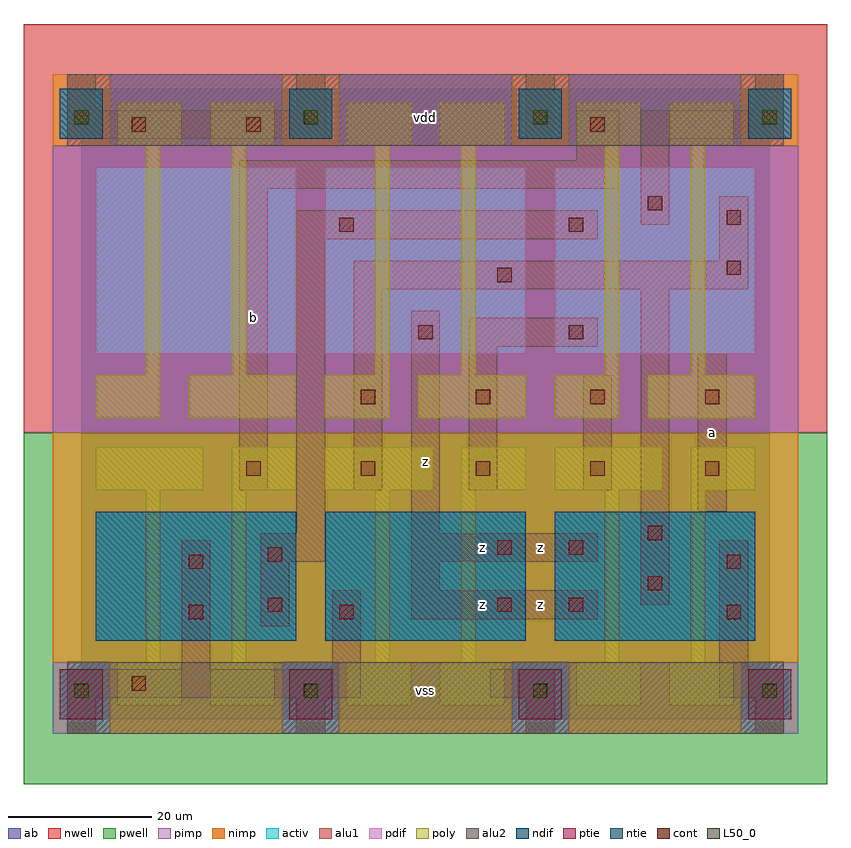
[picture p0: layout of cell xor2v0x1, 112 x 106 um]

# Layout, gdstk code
import gdstk
lib = gdstk.Library(unit=1e-6, precision=1e-09)
def R(c, l, rs):  # rectangles x0, y0, x1, y1
    for r in rs: c.add(gdstk.rectangle(r[:2], r[2:], *l))
def A(c, l, x, y, w, h, nx, ny, dx, dy):  # array of equal rectangles
    R(c, l, [(x+i*dx, y+j*dy, x+i*dx+w, y+j*dy+h) for i in range(nx) for j in range(ny)])
ndif = (3, 0)
pdif = (4, 0)
ntie = (5, 0)
ptie = (6, 0)
cont = (25, 0)
pwell = (41, 0)
nwell = (42, 0)
activ = (43, 0)
pimp = (44, 0)
nimp = (45, 0)
poly = (46, 0)
alu1 = (49, 0)
L50_0 = (50, 0)
alu2 = (51, 0)
ab = (63, 0)

xor2v0x1 = lib.new_cell('xor2v0x1')
A(xor2v0x1, ndif, 2, 11, 28, 18, 3, 1, 32, 0)
A(xor2v0x1, pdif, 2, 51, 28, 26, 3, 1, 32, 0)
A(xor2v0x1, ntie, -3, 81, 6, 7, 4, 1, 32, 0)
A(xor2v0x1, ptie, -3, 0, 6, 7, 4, 1, 32, 0)
A(xor2v0x1, cont, -1, 3, 2, 2, 4, 2, 32, 80)
A(xor2v0x1, cont, 23, 34, 2, 2, 5, 1, 16, 0)
A(xor2v0x1, cont, 39, 44, 2, 2, 4, 1, 16, 0)
R(xor2v0x1, cont, [(7,4,9,6), (15,14,17,16), (36,14,38,16), (90,14,92,16), (26,15,28,17), (58,15,60,17), (68,15,70,17), (79,18,81,20), (15,21,17,23), (90,21,92,23), (26,22,28,24), (58,23,60,25), (68,23,70,25), (79,25,81,27), (47,53,49,55), (68,53,70,55), (58,61,60,63), (90,62,92,64), (36,68,38,70), (68,68,70,70), (90,69,92,71), (79,71,81,73), (7,82,9,84), (23,82,25,84), (71,82,73,84)])
R(xor2v0x1, pwell, [(-8,-9,104,40)])
R(xor2v0x1, nwell, [(-8,40,104,97)])
A(xor2v0x1, activ, -3, 0, 6, 7, 4, 2, 32, 81)
A(xor2v0x1, activ, 2, 11, 28, 18, 3, 1, 32, 0)
A(xor2v0x1, activ, 2, 51, 28, 26, 3, 1, 32, 0)
A(xor2v0x1, pimp, -4, -2, 8, 10, 4, 1, 32, 0)
A(xor2v0x1, pimp, 4, 80, 24, 10, 3, 1, 32, 0)
R(xor2v0x1, pimp, [(-4,40,100,80)])
A(xor2v0x1, nimp, 4, -2, 24, 10, 3, 1, 32, 0)
A(xor2v0x1, nimp, -4, 80, 8, 10, 4, 1, 32, 0)
R(xor2v0x1, nimp, [(-4,8,100,40)])
A(xor2v0x1, poly, 2, 32, 15, 6, 3, 1, 32, 0)
A(xor2v0x1, poly, 21, 32, 9, 6, 3, 1, 32, 0)
A(xor2v0x1, poly, 2, 42, 9, 6, 3, 1, 32, 0)
A(xor2v0x1, poly, 15, 42, 15, 6, 3, 1, 32, 0)
R(xor2v0x1, poly, [(5,2,14,8), (18,2,27,8), (37,2,46,8), (50,2,59,8), (69,2,78,8), (82,2,91,8), (9,8,11,32), (21,8,23,32), (41,8,43,32), (53,8,55,32), (73,8,75,32), (85,8,87,32), (9,48,11,80), (21,48,23,80), (41,48,43,80), (53,48,55,80), (73,48,75,80), (85,48,87,80), (5,80,14,86), (18,80,27,86), (37,80,46,86), (50,80,59,86), (69,80,78,86), (82,80,91,86)])
A(xor2v0x1, alu1, -2, -2, 4, 5, 4, 1, 32, 0)
R(xor2v0x1, alu1, [(-2,3,39,7), (57,3,66,7), (89,3,98,7), (14,7,18,25), (35,7,39,18), (89,7,93,25), (25,13,29,22), (46,14,72,18), (78,16,82,60), (46,18,50,22), (25,22,34,26), (46,22,72,26), (30,26,34,67), (46,26,50,57), (86,29,90,51), (22,32,26,74), (38,32,42,60), (54,32,58,52), (70,32,74,48), (54,52,72,56), (38,60,93,64), (89,64,93,73), (30,67,72,71), (78,69,82,81), (22,74,75,78), (69,78,75,85), (-2,81,34,85), (62,81,66,90), (78,81,98,85), (-2,85,2,90), (30,85,34,90), (94,85,98,90)])
A(xor2v0x1, L50_0, -1, 3, 2, 2, 4, 2, 32, 80)
R(xor2v0x1, alu2, [(-2,-2,98,8), (-2,80,98,90)])
R(xor2v0x1, ab, [(0,0,96,88)])
xor2v0x1.add(gdstk.Label('b', (24,56), layer=49, texttype=0))
xor2v0x1.add(gdstk.Label('z', (64,16), layer=49, texttype=0))
xor2v0x1.add(gdstk.Label('z', (56,16), layer=49, texttype=0))
xor2v0x1.add(gdstk.Label('z', (56,24), layer=49, texttype=0))
xor2v0x1.add(gdstk.Label('z', (64,24), layer=49, texttype=0))
xor2v0x1.add(gdstk.Label('z', (48,36), layer=49, texttype=0))
xor2v0x1.add(gdstk.Label('a', (88,40), layer=49, texttype=0))
xor2v0x1.add(gdstk.Label('vss', (48,4), layer=51, texttype=0))
xor2v0x1.add(gdstk.Label('vdd', (48,84), layer=51, texttype=0))

lib.write_gds('xor2v0x1.gds')
